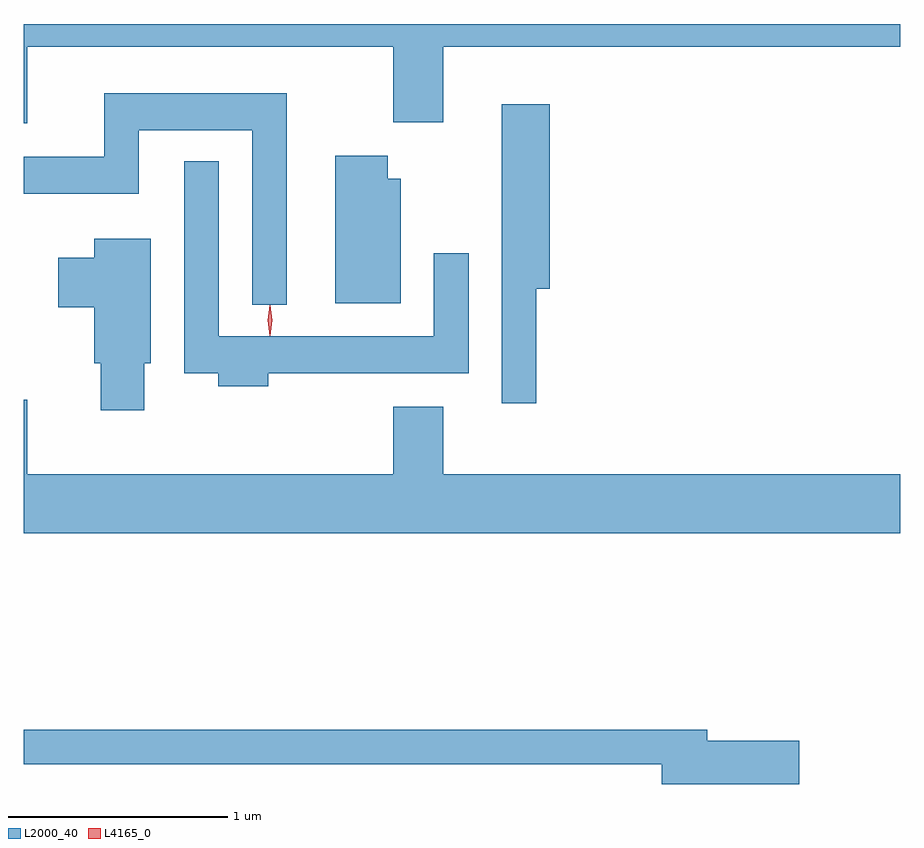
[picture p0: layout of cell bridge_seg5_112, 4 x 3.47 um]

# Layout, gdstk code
import gdstk
lib = gdstk.Library(unit=1e-6, precision=1e-09)
def P(c, l, *ps):  # polygons
    for p in ps: c.add(gdstk.Polygon(p, *l))
L2000_40 = (2000, 40)
L4165_0 = (4165, 0)

bridge_seg5_112 = lib.new_cell('bridge_seg5_112')
P(bridge_seg5_112, L2000_40, [(1179.549,1505.636),(1181.221,1505.636),(1181.221,1505.291),(1181.449,1505.291),(1181.449,1505.636),(1183.534,1505.636),(1183.534,1505.74),(1179.534,1505.74),(1179.534,1505.286),(1179.549,1505.286)],
  [(1180.734,1505.424),(1179.901,1505.424),(1179.901,1505.134),(1179.534,1505.134),(1179.534,1504.966),(1180.059,1504.966),(1180.059,1505.256),(1180.576,1505.256),(1180.576,1504.458),(1180.734,1504.458)],
  [(1181.874,1504.531),(1181.934,1504.531),(1181.934,1505.374),(1181.716,1505.374),(1181.716,1504.008),(1181.874,1504.008)],
  [(1181.254,1505.034),(1181.194,1505.034),(1181.194,1505.139),(1180.956,1505.139),(1180.956,1504.466),(1181.254,1504.466)],
  [(1180.649,1504.146),(1181.564,1504.146),(1181.564,1504.693),(1181.406,1504.693),(1181.406,1504.314),(1180.424,1504.314),(1180.424,1505.113),(1180.266,1505.113),(1180.266,1504.146),(1180.421,1504.146),(1180.421,1504.086),(1180.649,1504.086)],
  [(1180.084,1504.191),(1180.114,1504.191),(1180.114,1504.759),(1179.856,1504.759),(1179.856,1504.674),(1179.691,1504.674),(1179.691,1504.446),(1179.856,1504.446),(1179.856,1504.191),(1179.886,1504.191),(1179.886,1503.976),(1180.084,1503.976)],
  [(1183.534,1503.684),(1181.449,1503.684),(1181.449,1503.994),(1181.221,1503.994),(1181.221,1503.684),(1179.549,1503.684),(1179.549,1504.024),(1179.534,1504.024),(1179.534,1503.416),(1183.534,1503.416)],
  [(1183.074,1502.469),(1182.654,1502.469),(1182.654,1502.519),(1179.534,1502.519),(1179.534,1502.361),(1182.446,1502.361),(1182.446,1502.271),(1183.074,1502.271)])
P(bridge_seg5_112, L4165_0, [(1180.657,1504.317),(1180.657,1504.318),(1180.647,1504.387),(1180.657,1504.456),(1180.657,1504.456),(1180.658,1504.456),(1180.667,1504.387),(1180.658,1504.318)])

lib.write_gds('bridge_seg5_112.gds')
